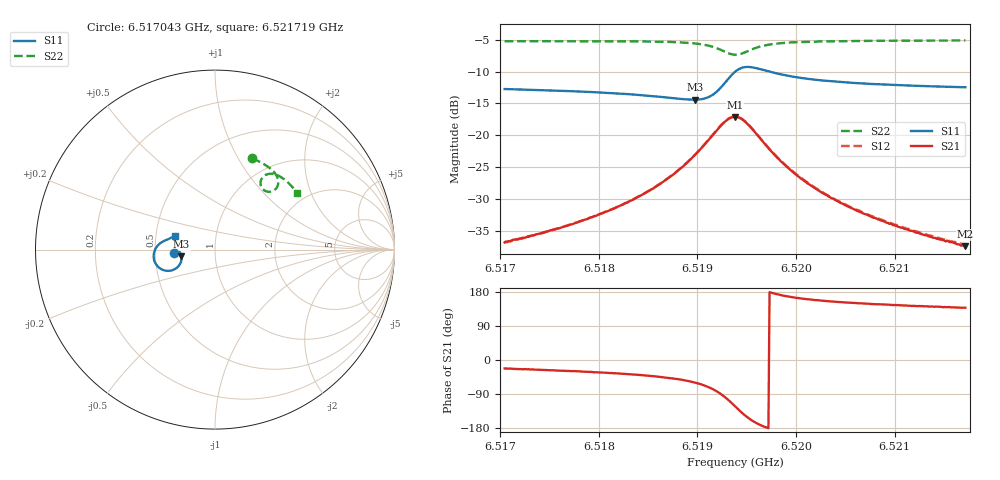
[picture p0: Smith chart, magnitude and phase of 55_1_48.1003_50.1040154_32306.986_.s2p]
#  HZ  S  RI  R  50.00
! Rohde & Schwarz Vector Network Analyzer
! Rohde-Schwarz,ZNB20-2Port,1311601062101988,3.16
! Created: UTC 12/23/2023, 3:40:10 AM
! freq[Hz]  re:S11  im:S11  re:S21  im:S21  re:S12  im:S12  re:S22  im:S22
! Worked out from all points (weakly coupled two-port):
!   401 points, 6.517043 GHz to 6.521719 GHz, reference 50 ohm
!   highest |S21| = -17.11 dB at 6.519381 GHz (marker M1); lowest = -37.4 dB at 6.521719 GHz (marker M2)
!   lowest |S11| = -14.4 dB at 6.518972 GHz (marker M3), VSWR 1.47, Z = 34.2 - j2.59 ohm
!   |S11| at or under -10 dB: start of sweep to 6.519382 GHz; 6.519732 GHz to end of sweep
!   |S22| runs from -7.3 to -5.1 dB; largest |S21 - S12| = 0.0042
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6.5170426e9  -0.2302 -0.0165  0.0133 -0.00548  0.0135 -0.00502  0.2068 0.508
6.5174284e9  -0.2259 -0.011  0.0155 -0.00749  0.0155 -0.00706  0.2352 0.4958
6.5178259e9  -0.2201 -0.00628  0.0184 -0.0109  0.0186 -0.0102  0.2648 0.4807
6.5182584e9  -0.2113 -0.00448  0.0233 -0.0173  0.0238 -0.0167  0.2973 0.46
6.5186092e9  -0.2006 -0.00935  0.0294 -0.0285  0.0304 -0.0276  0.3245 0.4366
6.5187845e9  -0.1936 -0.0174  0.0331 -0.0393  0.0345 -0.0383  0.3382 0.4199
6.5189716e9  -0.1867 -0.0365  0.0354 -0.0599  0.0374 -0.059  0.3505 0.3936
6.5190768e9  -0.1867 -0.0563  0.032 -0.0791  0.0347 -0.0785  0.3524 0.3723
6.5191586e9  -0.1938 -0.0781  0.0222 -0.0987  0.0254 -0.0988  0.3476 0.3519
6.5192872e9  -0.2369 -0.1145  -0.0219 -0.1276  -0.0184 -0.1292  0.3138 0.3234
6.519334e9  -0.2652 -0.1182  -0.0477 -0.1281  -0.0445 -0.1304  0.2933 0.3226
6.5193807e9  -0.2954 -0.1106  -0.0741 -0.1182  -0.0712 -0.1211  0.2734 0.331
6.5194275e9  -0.3206 -0.092  -0.0944 -0.099  -0.0924 -0.1025  0.2591 0.3474
6.5194859e9  -0.3385 -0.06  -0.1069 -0.0693  -0.1056 -0.0729  0.2533 0.372
6.5195795e9  -0.3388 -0.0139  -0.1021 -0.0295  -0.1021 -0.0328  0.2656 0.4027
6.5196847e9  -0.323 0.0179  -0.0849 -0.00493  -0.0855 -0.00742  0.2886 0.4187
6.5199185e9  -0.2898 0.0452  -0.0541 0.0118  -0.055 0.0104  0.3301 0.4207
6.520164e9  -0.2693 0.0548  -0.037 0.0142  -0.0378 0.0133  0.359 0.4095
6.5205147e9  -0.2525 0.0615  -0.0245 0.0132  -0.0252 0.0127  0.3884 0.3895
6.5209473e9  -0.24 0.0677  -0.0167 0.0112  -0.0172 0.0112  0.4166 0.3638
6.5213681e9  -0.2311 0.0736  -0.0123 0.01  -0.0128 0.00985  0.4399 0.3383
6.5217188e9  -0.225 0.0785  -0.00997 0.00899  -0.0104 0.00899  0.4572 0.3167
